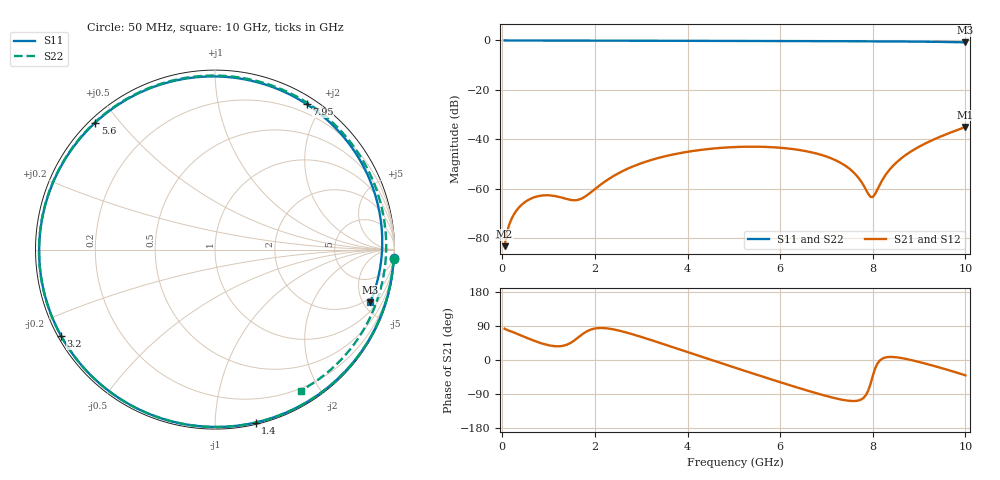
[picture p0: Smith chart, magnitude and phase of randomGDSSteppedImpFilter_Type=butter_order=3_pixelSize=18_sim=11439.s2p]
! freq	dB(S11)	phase(S11)	dB(S12)	phase(S12)
!  dB(S21)	phase(S21)	dB(S22)	phase(S22)
!S-par simulation data
#  GHz  S  DB  R 50
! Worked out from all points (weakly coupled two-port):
!   200 points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, 50 MHz to 10 GHz, reference 50 ohm
!   highest |S21| = -35.05 dB at 10 GHz (marker M1); lowest = -83.2 dB at 50 MHz (marker M2)
!   lowest |S11| = -0.8 dB at 10 GHz (marker M3), VSWR 22.01, Z = 79.3 - j280 ohm
!   |S11| at or under -10 dB: nowhere
!   |S22| runs from -0.7 to 0.0 dB; largest |S21 - S12| = 0
!   S11 on the Smith chart (normalised r, x): 50 MHz: 3, -40; 1.4 GHz: 0.01, -1.26; 3.2 GHz: 0.01, -0.26; 5.6 GHz: 0.02, +0.43; 7.95 GHz: 0.09, +1.81; 10 GHz: 1.59, -5.61
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0.05  -0.03 -2.8  -83.23 82.6  -83.23 82.6  -0.03 -3.1
0.25  -0.04 -14.5  -70.40 72.6  -70.40 72.6  -0.04 -15.9
0.55  -0.05 -31.7  -64.67 57.4  -64.67 57.4  -0.05 -34.7
0.95  -0.07 -53.7  -62.64 40.4  -62.64 40.4  -0.07 -58.5
1.4  -0.09 -76.8  -64.19 40.7  -64.19 40.7  -0.10 -83.2
1.75  -0.10 -93.3  -63.61 69.8  -63.61 69.8  -0.11 -100.7
2.5  -0.13 -124.9  -53.82 78.2  -53.82 78.2  -0.13 -133.7
3.2  -0.15 -150.7  -48.46 53.2  -48.46 53.2  -0.15 -160.5
3.4  -0.15 -157.6  -47.41 45.2  -47.41 45.2  -0.16 -167.7
4.2  -0.18 176.4  -44.50 12.9  -44.50 12.9  -0.18 165.0
5.05  -0.22 150.1  -43.11 -21.3  -43.11 -21.3  -0.22 136.9
5.6  -0.24 133.3  -43.03 -43.0  -43.03 -43.0  -0.24 118.6
6.15  -0.27 116.3  -43.68 -64.3  -43.68 -64.3  -0.26 99.9
6.7  -0.30 99.0  -45.37 -84.8  -45.37 -84.8  -0.28 80.5
7.45  -0.34 74.6  -51.24 -107.1  -51.24 -107.1  -0.31 52.6
7.7  -0.36 66.2  -55.80 -106.5  -55.80 -106.5  -0.32 42.9
7.95  -0.38 57.8  -63.26 -63.7  -63.26 -63.7  -0.34 33.0
8.05  -0.38 54.3  -62.13 -22.7  -62.13 -22.7  -0.34 29.0
8.35  -0.41 43.9  -52.58 8.0  -52.58 8.0  -0.37 16.7
8.7  -0.45 31.5  -46.50 3.3  -46.50 3.3  -0.41 2.0
9.2  -0.54 13.1  -41.10 -11.6  -41.10 -11.6  -0.49 -20.1
10  -0.79 -18.8  -35.05 -40.5  -35.05 -40.5  -0.73 -58.8
